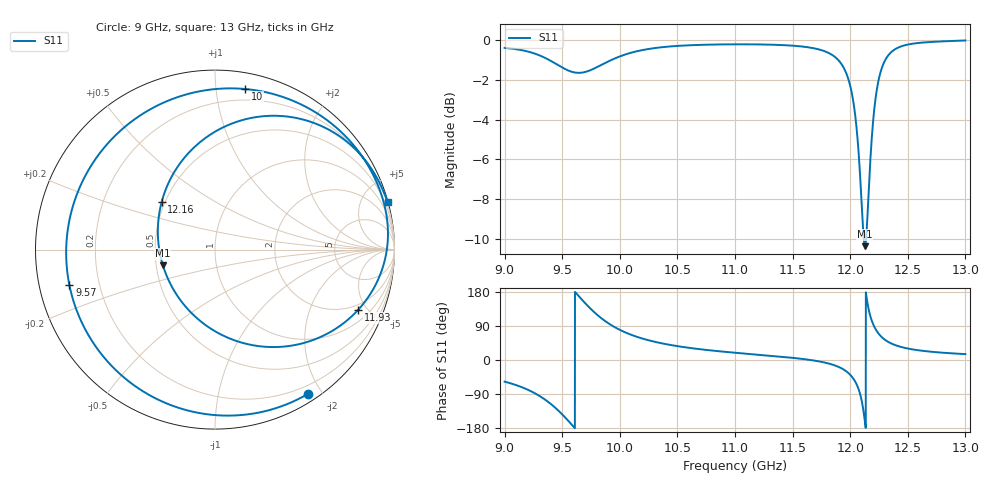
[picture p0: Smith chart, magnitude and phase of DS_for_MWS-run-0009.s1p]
! TOUCHSTONE file generated by CST DESIGN STUDIO
! Date and time: Tue Feb  4 14:27:51 2025
! Project name: C:\Work\MatlabApps\UnitCellOptimizationMatlab\CST\unitcell.cst
! Tree item: Tasks\Sweep1\SPara1\S-Parameters
! Header version: 2024
! Port assignment regex: !\s*Touchstone port\s*([0-9]+)\s*=\s*(CST MWS port|CST DES external port|CST DES block port)\s*(.+)\s* \(\"(.*)\"\)(\s*mode\s*([0-9]+))?.*
! Touchstone port assignment:
! Touchstone port 1 = CST DES external port 1 ("")
# GHz S MA R 50
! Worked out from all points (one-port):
!   4001 points, 9 GHz to 13 GHz, reference 50 ohm
!   lowest |S11| = -10.4 dB at 12.13 GHz (marker M1), VSWR 1.87, Z = 27.2 - j5.26 ohm
!   |S11| at or under -10 dB: 12.11774 GHz to 12.13783 GHz (20.09 MHz wide, 0.166 % of centre)
!   S11 on the Smith chart (normalised r, x): 9 GHz: 0.10, -1.83; 9.57 GHz: 0.09, -0.12; 10 GHz: 0.11, +1.20; 11.93 GHz: 1.64, -4.38; 12.16 GHz: 0.48, +0.30; 13 GHz: 0.05, +7.33
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9  0.9563 -57.1
9.16  0.9423 -73.0
9.311  0.9136 -96.4
9.409  0.8842 -118.0
9.5  0.8536 -143.5
9.57  0.835 -166.3
9.666  0.8282 160.9
9.784  0.8503 124.5
9.881  0.8786 101.0
10  0.9101 79.6
10.001  0.9103 79.4
10.218  0.9468 54.7
10.5  0.9672 36.6
11  0.9762 19.1
11.5  0.9686 5.7
11.784  0.9365 -7.1
11.93  0.8656 -22.8
12  0.7677 -39.0
12.073  0.5216 -77.1
12.1  0.3852 -107.7
12.128  0.3032 -163.1
12.157  0.3974 138.5
12.199  0.626 94.6
12.245  0.7898 70.2
12.291  0.8754 55.8
12.345  0.9261 45.3
12.5  0.9748 30.3
13  0.9983 15.5
